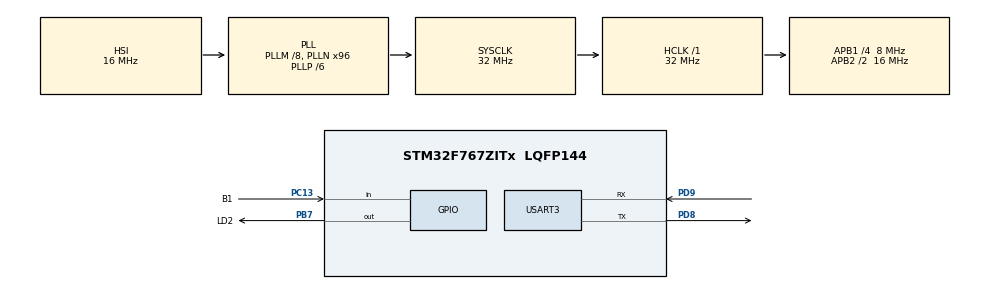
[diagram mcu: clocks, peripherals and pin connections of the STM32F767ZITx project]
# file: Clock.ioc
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CORTEX_M7.default_mode_Activation=1
IWDG.Prescaler=IWDG_PRESCALER_32
Mcu.Family=STM32F7
Mcu.Name=STM32F767ZITx
Mcu.Package=LQFP144
NVIC.PriorityGroup=NVIC_PRIORITYGROUP_4
PB7.GPIO_Label=LD2
PB7.Signal=GPIO_Output
PC13.GPIO_Label=B1
PC13.Signal=GPIO_Input
PC14/OSC32_IN.Mode=LSE-External-Oscillator
PC14/OSC32_IN.Signal=RCC_OSC32_IN
PC15/OSC32_OUT.Mode=LSE-External-Oscillator
PC15/OSC32_OUT.Signal=RCC_OSC32_OUT
PD8.Mode=Asynchronous
PD8.Signal=USART3_TX
PD9.Mode=Asynchronous
PD9.Signal=USART3_RX
ProjectManager.HeapSize=0x200
ProjectManager.StackSize=0x400
ProjectManager.TargetToolchain=STM32CubeIDE
RCC.AHBFreq_Value=32000000
RCC.APB1CLKDivider=RCC_HCLK_DIV4
RCC.APB1Freq_Value=8000000
RCC.APB1TimFreq_Value=16000000
RCC.APB2CLKDivider=RCC_HCLK_DIV2
RCC.APB2Freq_Value=16000000
RCC.APB2TimFreq_Value=32000000
RCC.CortexFreq_Value=32000000
RCC.HCLKFreq_Value=32000000
RCC.HSE_VALUE=25000000
RCC.HSI_VALUE=16000000
RCC.PLLM=8
RCC.PLLN=96
RCC.PLLP=RCC_PLLP_DIV6
RCC.RTCClockSelection=RCC_RTCCLKSOURCE_LSE
RCC.SYSCLKFreq_VALUE=32000000
RCC.SYSCLKSource=RCC_SYSCLKSOURCE_PLLCLK
RCC.USBFreq_Value=96000000
RCC.VCOOutputFreq_Value=192000000
USART3.VirtualMode-Asynchronous=VM_ASYNC
VP_IWDG_VS_IWDG.Mode=IWDG_Activate
VP_RTC_VS_RTC_Activate.Mode=RTC_Enabled
board=custom

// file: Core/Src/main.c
/* USER CODE BEGIN Header */
/**
  ******************************************************************************
  * @file           : main.c
  * @brief          : Main program body
  ******************************************************************************
  * @attention
  *
  * Copyright (c) 2024 STMicroelectronics.
  * All rights reserved.
  *
  * This software is licensed under terms that can be found in the LICENSE file
  * in the root directory of this software component.
  * If no LICENSE file comes with this software, it is provided AS-IS.
  *
  ******************************************************************************
  */
/* USER CODE END Header */
#include "main.h"

/* USER CODE BEGIN Includes */
#include <stdio.h>
#include <string.h>
#include <stdbool.h>
/* USER CODE END Includes */

IWDG_HandleTypeDef hiwdg;

RTC_HandleTypeDef hrtc;

UART_HandleTypeDef huart3;

void SystemClock_Config(void);
static void MPU_Config(void);
static void MX_GPIO_Init(void);
static void MX_USART3_UART_Init(void);
static void MX_RTC_Init(void);
static void MX_IWDG_Init(void);

/* USER CODE BEGIN 0 */
int __io_putchar(int ch)
{
    if (ch == '\n') {
        uint8_t ch2 = '\r';
        HAL_UART_Transmit(&huart3, &ch2, 1, HAL_MAX_DELAY);
    }

    HAL_UART_Transmit(&huart3, (uint8_t*)&ch, 1, HAL_MAX_DELAY);
    return 1;
}

bool is_button_pressed(void)
{
  if (HAL_GPIO_ReadPin(B1_GPIO_Port, B1_Pin) == GPIO_PIN_SET) {
    return true;
  } else {
    return false;
  }
}

/* USER CODE END 0 */

int main(void)
{

  /* MPU Configuration--------------------------------------------------------*/
  MPU_Config();

  /* MCU Configuration--------------------------------------------------------*/

  /* Reset of all peripherals, Initializes the Flash interface and the Systick. */
  HAL_Init();

  /* Configure the system clock */
  SystemClock_Config();

  /* Initialize all configured peripherals */
  MX_GPIO_Init();
  MX_USART3_UART_Init();
  MX_RTC_Init();
  MX_IWDG_Init();
  /* USER CODE BEGIN 2 */
  int i;

  for (i = 0; i < 10; i++) {
    HAL_GPIO_TogglePin(LD2_GPIO_Port, LD2_Pin);
    HAL_Delay(100);
  }
  uint32_t last_ms = HAL_GetTick();
  /* USER CODE END 2 */

  /* Infinite loop */
  /* USER CODE BEGIN WHILE */
  while (1)
  {
	  if (is_button_pressed()) {
	  		  while (1) ;
	  }

	  uint32_t now = HAL_GetTick();
	  	  if (now - last_ms >= 500) {
	  		  HAL_GPIO_TogglePin(LD2_GPIO_Port, LD2_Pin);
	  		  last_ms = now;

	  		  HAL_IWDG_Refresh(&hiwdg);
	  	  }
    /* USER CODE END WHILE */

  }
}

void SystemClock_Config(void)
{
  RCC_OscInitTypeDef RCC_OscInitStruct = {0};
  RCC_ClkInitTypeDef RCC_ClkInitStruct = {0};

  /** Configure LSE Drive Capability
  */
  HAL_PWR_EnableBkUpAccess();
  __HAL_RCC_LSEDRIVE_CONFIG(RCC_LSEDRIVE_LOW);

  /** Configure the main internal regulator output voltage
  */
  __HAL_RCC_PWR_CLK_ENABLE();
  __HAL_PWR_VOLTAGESCALING_CONFIG(PWR_REGULATOR_VOLTAGE_SCALE3);

  /** Initializes the RCC Oscillators according to the specified parameters
  * in the RCC_OscInitTypeDef structure.
  */
  RCC_OscInitStruct.OscillatorType = RCC_OSCILLATORTYPE_HSI|RCC_OSCILLATORTYPE_LSI
                              |RCC_OSCILLATORTYPE_LSE;
  RCC_OscInitStruct.LSEState = RCC_LSE_ON;
  RCC_OscInitStruct.HSIState = RCC_HSI_ON;
  RCC_OscInitStruct.HSICalibrationValue = RCC_HSICALIBRATION_DEFAULT;
  RCC_OscInitStruct.LSIState = RCC_LSI_ON;
  RCC_OscInitStruct.PLL.PLLState = RCC_PLL_ON;
  RCC_OscInitStruct.PLL.PLLSource = RCC_PLLSOURCE_HSI;
  RCC_OscInitStruct.PLL.PLLM = 8;
  RCC_OscInitStruct.PLL.PLLN = 96;
  RCC_OscInitStruct.PLL.PLLP = RCC_PLLP_DIV6;
  RCC_OscInitStruct.PLL.PLLQ = 2;
  RCC_OscInitStruct.PLL.PLLR = 2;
  if (HAL_RCC_OscConfig(&RCC_OscInitStruct) != HAL_OK)
  {
    Error_Handler();
  }

  /** Initializes the CPU, AHB and APB buses clocks
  */
  RCC_ClkInitStruct.ClockType = RCC_CLOCKTYPE_HCLK|RCC_CLOCKTYPE_SYSCLK
                              |RCC_CLOCKTYPE_PCLK1|RCC_CLOCKTYPE_PCLK2;
  RCC_ClkInitStruct.SYSCLKSource = RCC_SYSCLKSOURCE_PLLCLK;
  RCC_ClkInitStruct.AHBCLKDivider = RCC_SYSCLK_DIV1;
  RCC_ClkInitStruct.APB1CLKDivider = RCC_HCLK_DIV4;
  RCC_ClkInitStruct.APB2CLKDivider = RCC_HCLK_DIV2;

  if (HAL_RCC_ClockConfig(&RCC_ClkInitStruct, FLASH_LATENCY_1) != HAL_OK)
  {
    Error_Handler();
  }
}

static void MX_IWDG_Init(void)
{

  hiwdg.Instance = IWDG;
  hiwdg.Init.Prescaler = IWDG_PRESCALER_32;
  hiwdg.Init.Window = 4095;
  hiwdg.Init.Reload = 4095;
  if (HAL_IWDG_Init(&hiwdg) != HAL_OK)
  {
    Error_Handler();
  }

}

static void MX_RTC_Init(void)
{

  /** Initialize RTC Only
  */
  hrtc.Instance = RTC;
  hrtc.Init.HourFormat = RTC_HOURFORMAT_24;
  hrtc.Init.AsynchPrediv = 127;
  hrtc.Init.SynchPrediv = 255;
  hrtc.Init.OutPut = RTC_OUTPUT_DISABLE;
  hrtc.Init.OutPutPolarity = RTC_OUTPUT_POLARITY_HIGH;
  hrtc.Init.OutPutType = RTC_OUTPUT_TYPE_OPENDRAIN;
  if (HAL_RTC_Init(&hrtc) != HAL_OK)
  {
    Error_Handler();
  }

}

static void MX_USART3_UART_Init(void)
{

  huart3.Instance = USART3;
  huart3.Init.BaudRate = 115200;
  huart3.Init.WordLength = UART_WORDLENGTH_8B;
  huart3.Init.StopBits = UART_STOPBITS_1;
  huart3.Init.Parity = UART_PARITY_NONE;
  huart3.Init.Mode = UART_MODE_TX_RX;
  huart3.Init.HwFlowCtl = UART_HWCONTROL_NONE;
  huart3.Init.OverSampling = UART_OVERSAMPLING_16;
  huart3.Init.OneBitSampling = UART_ONE_BIT_SAMPLE_DISABLE;
  huart3.AdvancedInit.AdvFeatureInit = UART_ADVFEATURE_NO_INIT;
  if (HAL_UART_Init(&huart3) != HAL_OK)
  {
    Error_Handler();
  }

}

static void MX_GPIO_Init(void)
{
  GPIO_InitTypeDef GPIO_InitStruct = {0};

  /* GPIO Ports Clock Enable */
  __HAL_RCC_GPIOC_CLK_ENABLE();
  __HAL_RCC_GPIOD_CLK_ENABLE();
  __HAL_RCC_GPIOB_CLK_ENABLE();

  /*Configure GPIO pin Output Level */
  HAL_GPIO_WritePin(LD2_GPIO_Port, LD2_Pin, GPIO_PIN_RESET);

  /*Configure GPIO pin : B1_Pin */
  GPIO_InitStruct.Pin = B1_Pin;
  GPIO_InitStruct.Mode = GPIO_MODE_INPUT;
  GPIO_InitStruct.Pull = GPIO_NOPULL;
  HAL_GPIO_Init(B1_GPIO_Port, &GPIO_InitStruct);

  /*Configure GPIO pin : LD2_Pin */
  GPIO_InitStruct.Pin = LD2_Pin;
  GPIO_InitStruct.Mode = GPIO_MODE_OUTPUT_PP;
  GPIO_InitStruct.Pull = GPIO_NOPULL;
  GPIO_InitStruct.Speed = GPIO_SPEED_FREQ_LOW;
  HAL_GPIO_Init(LD2_GPIO_Port, &GPIO_InitStruct);

}

 /* MPU Configuration */

void MPU_Config(void)
{
  MPU_Region_InitTypeDef MPU_InitStruct = {0};

  /* Disables the MPU */
  HAL_MPU_Disable();

  /** Initializes and configures the Region and the memory to be protected
  */
  MPU_InitStruct.Enable = MPU_REGION_ENABLE;
  MPU_InitStruct.Number = MPU_REGION_NUMBER0;
  MPU_InitStruct.BaseAddress = 0x0;
  MPU_InitStruct.Size = MPU_REGION_SIZE_4GB;
  MPU_InitStruct.SubRegionDisable = 0x87;
  MPU_InitStruct.TypeExtField = MPU_TEX_LEVEL0;
  MPU_InitStruct.AccessPermission = MPU_REGION_NO_ACCESS;
  MPU_InitStruct.DisableExec = MPU_INSTRUCTION_ACCESS_DISABLE;
  MPU_InitStruct.IsShareable = MPU_ACCESS_SHAREABLE;
  MPU_InitStruct.IsCacheable = MPU_ACCESS_NOT_CACHEABLE;
  MPU_InitStruct.IsBufferable = MPU_ACCESS_NOT_BUFFERABLE;

  HAL_MPU_ConfigRegion(&MPU_InitStruct);
  /* Enables the MPU */
  HAL_MPU_Enable(MPU_PRIVILEGED_DEFAULT);

}

void Error_Handler(void)
{
  __disable_irq();
  while (1)
  {
  }
}
